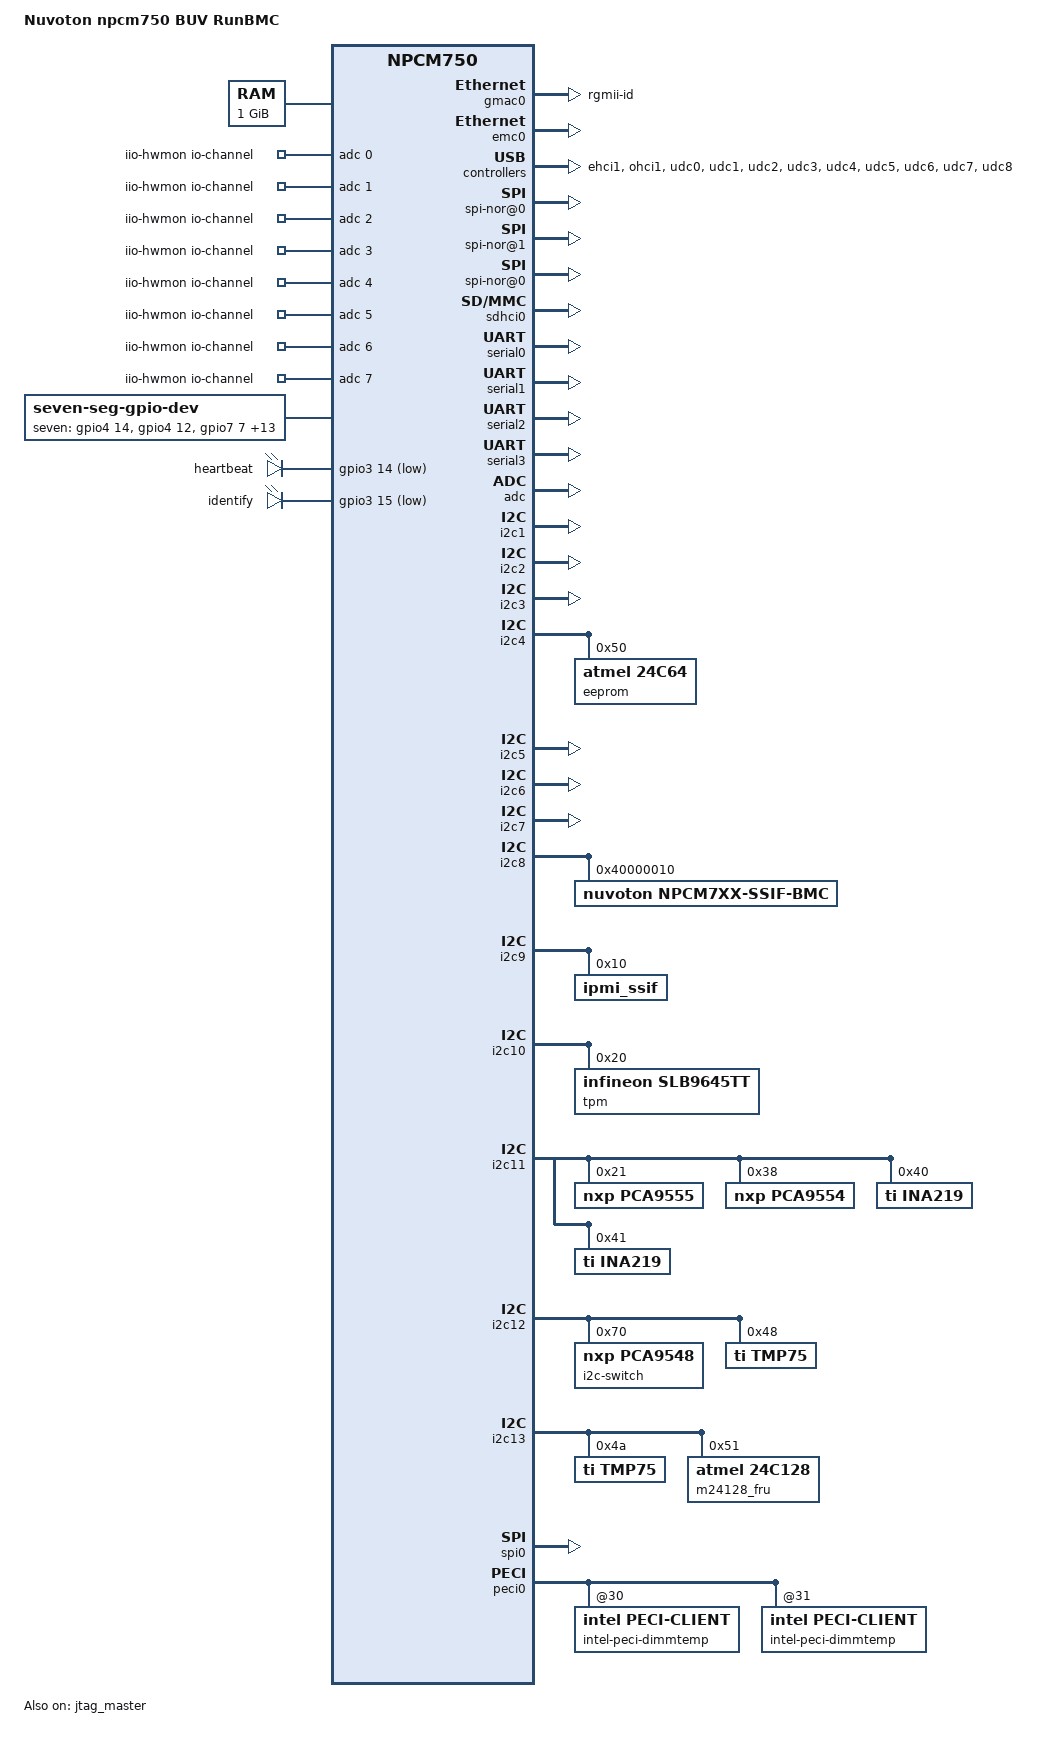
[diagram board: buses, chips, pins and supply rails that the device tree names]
// SPDX-License-Identifier: GPL-2.0
// Copyright (c) 2019 Nuvoton Technology kwliu@nuvoton.com

/dts-v1/;
#include "nuvoton-npcm750.dtsi"
#include "nuvoton-npcm750-buv-runbmc-pincfg.dtsi"

/ {
	model = "Nuvoton npcm750 BUV RunBMC";
	compatible = "nuvoton,npcm750";

	aliases {
		ethernet0 = &emc0;
		ethernet1 = &gmac0;
		serial0 = &serial0;
		serial1 = &serial1;
		serial2 = &serial2;
		serial3 = &serial3;
		udc0 = &udc0;
		udc1 = &udc1;
		udc2 = &udc2;
		udc3 = &udc3;
		udc4 = &udc4;
		udc5 = &udc5;
		udc6 = &udc6;
		udc7 = &udc7;
		udc8 = &udc8;
		emmc0 = &sdhci0;
		vdma = &vdma;
		i2c1 = &i2c1;
		i2c2 = &i2c2;
		i2c3 = &i2c3;
		i2c4 = &i2c4;
		i2c5 = &i2c5;
		i2c6 = &i2c6;
		i2c7 = &i2c7;
		i2c8 = &i2c8;
		i2c9 = &i2c9;
		i2c10 = &i2c10;
		i2c11 = &i2c11;
		i2c12 = &i2c12;
		i2c13 = &i2c13;
		spi0 = &spi0;
		spi1 = &spi1;
		fiu0 = &fiu0;
		fiu1 = &fiu3;
	};

	chosen {
		stdout-path = &serial3;
	};

	memory {
		reg = <0 0x40000000>;
	};

	iio-hwmon {
		compatible = "iio-hwmon";
		io-channels = <&adc 0>, <&adc 1>, <&adc 2>, <&adc 3>,
			<&adc 4>, <&adc 5>, <&adc 6>, <&adc 7>;
	};

	jtag_master {
		compatible = "nuvoton,npcm750-jtag-master";
		#address-cells = <1>;
		#size-cells = <1>;

		dev-num = <0>; /* /dev/jtag0 */
		mode = "pspi"; /* pspi or gpio */

		pspi-controller = <2>; /* pspi2 */
		reg = <0xf0201000 0x1000>;
		interrupts = <GIC_SPI 28 IRQ_TYPE_LEVEL_HIGH>;
		clocks = <&clk NPCM7XX_CLK_APB5>;

		jtag-gpios = <&gpio0 19 GPIO_ACTIVE_HIGH>, /* TCK */
				<&gpio0 18 GPIO_ACTIVE_HIGH>, /* TDI */
				<&gpio0 17 GPIO_ACTIVE_HIGH>, /* TDO */
				<&gpio0 16 GPIO_ACTIVE_HIGH>; /* TMS */
		status = "okay";
	};
	seven-seg-gpio {
                  compatible = "seven-seg-gpio-dev";
                  refresh-interval-ms = <500>;
		  seven-gpios = <&gpio4 14 0>,
				<&gpio4 12 0>,
				<&gpio7 7 0>,
				<&gpio0 9 0>,
				<&gpio4 15 0>,
				<&gpio2 25 0>,
				<&gpio4 11 0>,
				<&gpio4 10 0>,
				<&gpio0 25 0>,
				<&gpio4 9 0>,
				<&gpio0 24 0>,
				<&gpio0 11 0>,
				<&gpio2 23 0>,
				<&gpio4 13 0>,
				<&gpio2 24 0>,
				<&gpio2 26 0>;
        };
	ahb {
		gmac0: eth@f0802000 {
			phy-mode = "rgmii-id";
			snps,eee-force-disable;
			status = "okay";
		};

		emc0: eth@f0825000 {
			status = "okay";
		};

		ehci1: usb@f0806000 {
			status = "okay";
		};

		ohci1: ohci@f0807000 {
			status = "okay";
		};

		udc0:udc@f0830000 {
			status = "okay";
		};

		udc1:udc@f0831000 {
			status = "okay";
		};

		udc2:udc@f0832000 {
			status = "okay";
		};

		udc3:udc@f0833000 {
			status = "okay";
		};

		udc4:udc@f0834000 {
			status = "okay";
		};

		udc5:udc@f0835000 {
			status = "okay";
		};

		udc6:udc@f0836000 {
			status = "okay";
		};

		udc7:udc@f0837000 {
			status = "okay";
		};

		udc8:udc@f0838000 {
			status = "okay";
		};

		aes:aes@f0858000 {
			status = "okay";
		};

		sha:sha@f085a000 {
			status = "okay";
		};

		fiu0: fiu@fb000000 {
			pinctrl-names = "default";
			pinctrl-0 = <&spi0cs1_pins>;
			status = "okay";
			spi-nor@0 {
				compatible = "jedec,spi-nor";
				#address-cells = <1>;
				#size-cells = <1>;
				reg = <0>;
				spi-max-frequency = <5000000>;
				spi-rx-bus-width = <2>;
				partitions@80000000 {
					compatible = "fixed-partitions";
					#address-cells = <1>;
					#size-cells = <1>;
					bmc@0{
						label = "bmc";
						reg = <0x000000 0x4000000>;
					};
					u-boot@0 {
						label = "u-boot";
						reg = <0x0000000 0xC0000>;
						read-only;
					};
					u-boot-env@100000{
						label = "u-boot-env";
						reg = <0x00100000 0x40000>;
					};
					kernel@200000 {
						label = "kernel";
						reg = <0x0200000 0x600000>;
					};
					rofs@800000 {
						label = "rofs";
						reg = <0x800000 0x3500000>;
					};
					rwfs@1d00000 {
						label = "rwfs";
						reg = <0x3d00000 0x300000>;
					};
				};
			};
			spi-nor@1 {
				compatible = "jedec,spi-nor";
				#address-cells = <1>;
				#size-cells = <1>;
				reg = <1>;
				spi-max-frequency = <5000000>;
				spi-rx-bus-width = <2>;
				partitions@88000000 {
					compatible = "fixed-partitions";
					#address-cells = <1>;
					#size-cells = <1>;
					spare1@0 {
						label = "spi0-cs1-spare1";
						reg = <0x0 0x800000>;
					};
					spare2@800000 {
						label = "spi0-cs1-spare2";
						reg = <0x800000 0x0>;
					};
				};
			};
		};

		fiu3: fiu@c0000000 {
			pinctrl-0 = <&spi3_pins>;
			status = "okay";
			spi-nor@0 {
				compatible = "jedec,spi-nor";
				#address-cells = <1>;
				#size-cells = <1>;
				reg = <0>;
				spi-max-frequency = <5000000>;
				spi-rx-bus-width = <2>;
				partitions@A0000000 {
					compatible = "fixed-partitions";
					#address-cells = <1>;
					#size-cells = <1>;
					system1@0 {
						label = "bios";
						reg = <0x0 0x0>;
					};
					system2@800000 {
						label = "spi3-system2";
						reg = <0x800000 0x0>;
					};
				};
			};
		};

		sdhci0: sdhci@f0842000 {
			status = "okay";
		};

		vdma: vdma@e0800000 {
			status = "okay";
		};

		pcimbox: pcimbox@f0848000 {
			status = "okay";
		};

		vcd: vcd@f0810000 {
			status = "okay";
		};

		ece: ece@f0820000 {
			status = "okay";
		};

		apb {

			watchdog1: watchdog@901C {
				status = "okay";
			};

			rng: rng@b000 {
				status = "okay";
			};

			serial0: serial@1000 {
				status = "okay";
			};

			serial1: serial@2000 {
				status = "okay";
			};

			serial2: serial@3000 {
				status = "okay";
			};

			serial3: serial@4000 {
				status = "okay";
			};

			adc: adc@c000 {
				#io-channel-cells = <1>;
				status = "okay";
			};

			otp:otp@189000 {
				status = "okay";
			};

			lpc_kcs: lpc_kcs@7000 {
				kcs1: kcs1@0 {
					status = "okay";
				};

				kcs2: kcs2@0 {
					status = "okay";
				};

				kcs3: kcs3@0 {
					status = "okay";
				};
			};

			lpc_host: lpc_host@7000 {
				lpc_bpc: lpc_bpc@40 {
					monitor-ports = <0x80>;
					status = "okay";
				};
			};

			i2c1: i2c@81000 {
				#address-cells = <1>;
				#size-cells = <0>;
				bus-frequency = <100000>;
				status = "okay";
			};

			i2c2: i2c@82000 {
				#address-cells = <1>;
				#size-cells = <0>;
				bus-frequency = <100000>;
				status = "okay";
			};

			i2c3: i2c@83000 {
				#address-cells = <1>;
				#size-cells = <0>;
				bus-frequency = <100000>;
				status = "okay";
			};

			i2c4: i2c@84000 {
				#address-cells = <1>;
				#size-cells = <0>;
				bus-frequency = <100000>;
				status = "okay";
				eeprom@50 {
					compatible = "atmel,24c64";
					reg = <0x50>;
				};
			};

			i2c5: i2c@85000 {
				#address-cells = <1>;
				#size-cells = <0>;
				bus-frequency = <100000>;
				status = "okay";
			};

			i2c6: i2c@86000 {
				#address-cells = <1>;
				#size-cells = <0>;
				bus-frequency = <100000>;
				status = "okay";
			};

			i2c7: i2c@87000 {
				#address-cells = <1>;
				#size-cells = <0>;
				bus-frequency = <100000>;
				status = "okay";
			};

			i2c8: i2c@88000 {
				#address-cells = <1>;
				#size-cells = <0>;
				bus-frequency = <100000>;
				status = "okay";
				npcm7xx-ssif-bmc@40000010 {
					compatible = "nuvoton,npcm7xx-ssif-bmc";
					reg = <0x40000010>;
				};
			};

			i2c9: i2c@89000 {
				#address-cells = <1>;
				#size-cells = <0>;
				bus-frequency = <100000>;
				status = "okay";
				ipmi_ssif@10 {
					compatible = "ipmi_ssif";
					reg = <0x10>;
				};
			};

			i2c10: i2c@8a000 {
				#address-cells = <1>;
				#size-cells = <0>;
				bus-frequency = <100000>;
				status = "okay";
				tpm@20 {
					compatible = "infineon,slb9645tt";
					reg = <0x20>;
				};
			};

			i2c11: i2c@8b000 {
				#address-cells = <1>;
				#size-cells = <0>;
				bus-frequency = <100000>;
				status = "okay";
				pca9555@21 {
					compatible = "nxp,pca9555";
					reg = <0x21>;
					gpio-controller;
					#gpio-cells = <2>;
				};
				pca9554@38 {
					compatible = "nxp,pca9554";
					reg = <0x38>;
					gpio-controller;
					#gpio-cells = <2>;
				};
				ina219@40 {
					compatible = "ti,ina219";
					reg = <0x40>;
				};
				ina219@41 {
					compatible = "ti,ina219";
					reg = <0x41>;
				};
			};

			i2c12: i2c@8c000 {
				#address-cells = <1>;
				#size-cells = <0>;
				bus-frequency = <100000>;
				status = "okay";
				i2c-switch@70 {
					compatible = "nxp,pca9548";
					#address-cells = <1>;
					#size-cells = <0>;
					reg = <0x70>;
					i2c-mux-idle-disconnect;
					i2c-bus@0 {
						#address-cells = <1>;
						#size-cells = <0>;
						reg = <0>;
					};

					i2c-bus@1 {
						#address-cells = <1>;
						#size-cells = <0>;
						reg = <1>;
					};
				};
				tmp75@48 {
					compatible = "ti,tmp75";
					reg = <0x48>;
					status = "okay";
				};
			};

			i2c13: i2c@8d000 {
				#address-cells = <1>;
				#size-cells = <0>;
				bus-frequency = <100000>;
				status = "okay";
				tmp75@4a {
					compatible = "ti,tmp75";
					reg = <0x4a>;
					status = "okay";
				};
				m24128_fru@51 {
					compatible = "atmel,24c128";
					reg = <0x51>;
					pagesize = <64>;
					status = "okay";
				};
			};

			pwm_fan:pwm-fan-controller@103000 {
				pinctrl-names = "default";
				pinctrl-0 = <&pwm0_pins &pwm1_pins
				 		&pwm2_pins &pwm3_pins
						&fanin0_pins &fanin1_pins
						&fanin2_pins &fanin3_pins>;
				status = "okay";
				fan@0 {
					reg = <0x00>;
					fan-tach-ch = /bits/ 8 <0x00>;
					cooling-levels = <127 255>;
					fan_filter_en;
				};
				fan@1 {
					reg = <0x01>;
					fan-tach-ch = /bits/ 8 <0x01>;
					cooling-levels = /bits/ 8 <127 255>;
					fan_filter_en;
				};
				fan@2 {
					reg = <0x02>;
					fan-tach-ch = /bits/ 8 <0x02>;
					cooling-levels = /bits/ 8 <127 255>;
					fan_filter_en;
				};
				fan@3 {
					reg = <0x03>;
					fan-tach-ch = /bits/ 8 <0x03>;
					cooling-levels = /bits/ 8 <127 255>;
				};
			};

			spi0: spi@200000 {
				cs-gpios = <&gpio6 11 GPIO_ACTIVE_LOW>;
				status = "okay";
			};

			spi1: spi@201000 {
				status = "disabled";
			};
		};
	};

	pinctrl: pinctrl@f0800000 {
		pinctrl-names = "default";
		pinctrl-0 = <
				&ddc_pins
				&wdog1_pins
				&wdog2_pins
				&gpio138o_pins
				&gpio139o_pins
				&gpio89o_pins
				&gpio143o_pins
				&gpio9o_pins
				&gpio231o_pins
				&gpio140o_pins
				&gpio142o_pins
				&gpio90o_pins
				&gpio88o_pins
				&gpio141o_pins
				&gpio87o_pins
				&gpio11o_pins
				&gpio24o_pins
				&gpio137o_pins
				&gpio25o_pins
				>;
	};

	leds {
		compatible = "gpio-leds";
		heartbeat {
		label = "heartbeat";
			gpios = <&gpio3 14 1>;
		};

		identify {
			label = "identify";
			gpios = <&gpio3 15 1>;
		};
	};

};

&gcr {
	serial_port_mux: mux-controller {
	compatible = "mmio-mux";
	#mux-control-cells = <1>;

	mux-reg-masks = <0x38 0x07>;
	idle-states = <6>;
	};
};

&peci0 {
	cmd-timeout-ms = <1000>;
	pull-down = <0>;
	host-neg-bit-rate = <15>;
	status = "okay";

	intel-peci-dimmtemp@30 {
		compatible = "intel,peci-client";
		reg = <0x30>;
		status = "okay";
	};

	intel-peci-dimmtemp@31 {
		compatible = "intel,peci-client";
		reg = <0x31>;
		status = "okay";
	};
};
